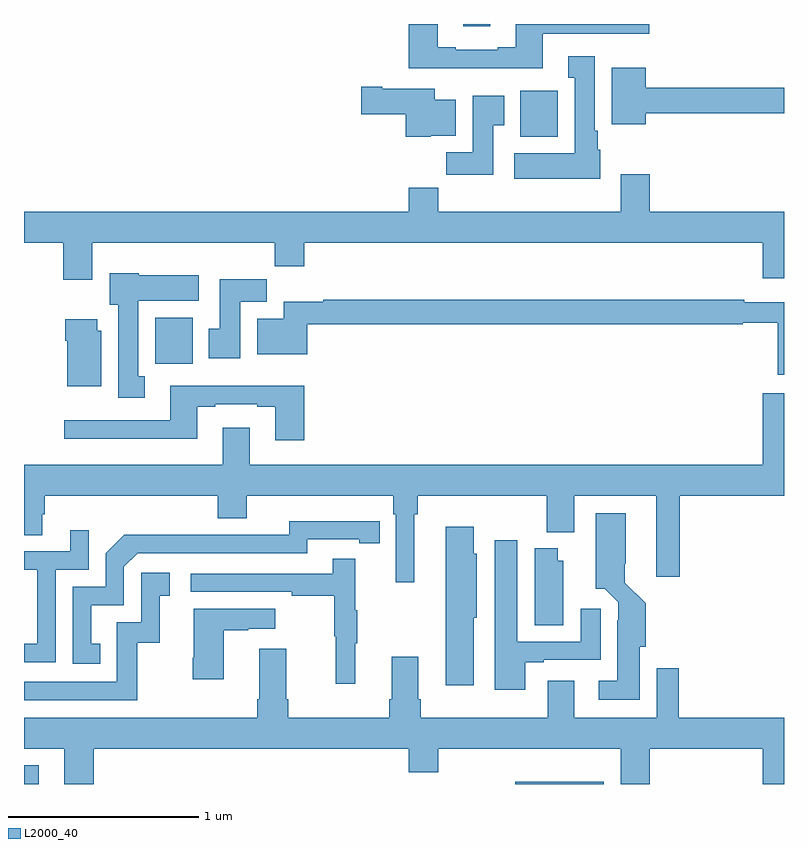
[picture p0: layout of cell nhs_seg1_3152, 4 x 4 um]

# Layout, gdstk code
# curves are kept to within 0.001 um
import gdstk
lib = gdstk.Library(unit=1e-6, precision=1e-09)
def R(c, l, rs):  # rectangles x0, y0, x1, y1
    for r in rs: c.add(gdstk.rectangle(r[:2], r[2:], *l))
def P(c, l, *ps):  # polygons
    for p in ps: c.add(gdstk.Polygon(p, *l))
L2000_40 = (2000, 40)

nhs_seg1_3152 = lib.new_cell('nhs_seg1_3152')
R(nhs_seg1_3152, L2000_40, [(281,566.199,281.077,566.299), (283.586,566.199,284.05,566.212), (281.69,568.412,281.887,568.654), (283.613,569.606,283.81,569.848), (283.313,570.186,283.453,570.199)])
P(nhs_seg1_3152, L2000_40, [(283.729,570.147),(284.29,570.147),(284.29,570.199),(283.589,570.199),(283.589,570.076),(283.493,570.076),(283.493,570.063),(283.273,570.063),(283.273,570.076),(283.177,570.076),(283.177,570.199),(283.025,570.199),(283.025,569.966),(283.729,569.966)],
  [(284.032,569.538),(284.02,569.538),(284.02,569.638),(284.005,569.638),(284.005,570.028),(283.865,570.028),(283.865,569.915),(283.898,569.915),(283.898,569.518),(283.581,569.518),(283.581,569.384),(284.032,569.384)],
  [(284.272,569.728),(285,569.728),(285,569.864),(284.272,569.864),(284.272,569.968),(284.093,569.968),(284.093,569.672),(284.272,569.672)],
  [(283.14,569.612),(283.273,569.612),(283.273,569.8),(283.162,569.8),(283.162,569.857),(282.886,569.857),(282.886,569.87),(282.774,569.87),(282.774,569.723),(283.01,569.723),(283.01,569.606),(283.14,569.606)],
  [(283.471,569.665),(283.528,569.665),(283.528,569.821),(283.361,569.821),(283.361,569.524),(283.222,569.524),(283.222,569.406),(283.471,569.406)],
  [(281,569.048),(281.207,569.048),(281.207,568.854),(281.359,568.854),(281.359,569.048),(282.319,569.048),(282.319,568.924),(282.476,568.924),(282.476,569.048),(284.888,569.048),(284.888,568.86),(285,568.86),(285,569.212),(284.294,569.212),(284.294,569.407),(284.141,569.407),(284.141,569.212),(283.181,569.212),(283.181,569.336),(283.025,569.336),(283.025,569.212),(281,569.212)],
  [(281.635,568.346),(281.602,568.346),(281.602,568.742),(281.92,568.742),(281.92,568.876),(281.604,568.876),(281.604,568.888),(281.45,568.888),(281.45,568.722),(281.495,568.722),(281.495,568.233),(281.635,568.233)],
  [(282.139,568.736),(282.278,568.736),(282.278,568.855),(282.029,568.855),(282.029,568.596),(281.972,568.596),(281.972,568.44),(282.139,568.44)],
  [(285,568.734),(284.792,568.734),(284.792,568.747),(282.574,568.747),(282.574,568.736),(282.368,568.736),(282.368,568.648),(282.227,568.648),(282.227,568.46),(282.491,568.46),(282.491,568.618),(284.782,568.618),(284.782,568.626),(284.966,568.626),(284.966,568.353),(285,568.353)],
  [(281.407,568.584),(281.386,568.584),(281.386,568.645),(281.216,568.645),(281.216,568.532),(281.228,568.532),(281.228,568.292),(281.407,568.292)],
  [(282.476,568.294),(281.771,568.294),(281.771,568.113),(281.211,568.113),(281.211,568.016),(281.911,568.016),(281.911,568.185),(282.007,568.185),(282.007,568.197),(282.227,568.197),(282.227,568.185),(282.323,568.185),(282.323,568.008),(282.476,568.008)],
  [(282.187,568.075),(282.047,568.075),(282.047,567.88),(281,567.88),(281,567.508),(281.095,567.508),(281.095,567.618),(281.108,567.618),(281.108,567.716),(282.02,567.716),(282.02,567.599),(282.172,567.599),(282.172,567.716),(282.944,567.716),(282.944,567.62),(282.957,567.62),(282.957,567.261),(283.054,567.261),(283.054,567.62),(283.073,567.62),(283.073,567.716),(283.75,567.716),(283.75,567.524),(283.897,567.524),(283.897,567.716),(284.327,567.716),(284.327,567.291),(284.45,567.291),(284.45,567.716),(285,567.716),(285,568.255),(284.888,568.255),(284.888,567.88),(282.187,567.88)],
  [(284.242,566.922),(284.273,566.922),(284.273,567.15),(284.163,567.259),(284.163,567.358),(284.167,567.358),(284.167,567.625),(284.009,567.625),(284.009,567.226),(284.057,567.226),(284.127,567.156),(284.127,567.062),(284.123,567.062),(284.123,566.743),(284.025,566.743),(284.025,566.642),(284.242,566.642)],
  [(281.402,566.937),(281.353,566.937),(281.353,567.141),(281.526,567.141),(281.526,567.342),(281.598,567.414),(282.492,567.414),(282.492,567.486),(282.764,567.486),(282.764,567.466),(282.872,567.466),(282.872,567.582),(282.396,567.583),(282.396,567.51),(281.936,567.51),(281.936,567.512),(281.528,567.512),(281.43,567.414),(281.43,567.237),(281.256,567.237),(281.256,566.832),(281.402,566.832)],
  [(283.366,567.075),(283.384,567.075),(283.384,567.411),(283.366,567.411),(283.366,567.553),(283.22,567.553),(283.22,566.718),(283.366,566.718)],
  [(281.166,567.327),(281.34,567.327),(281.34,567.535),(281.243,567.535),(281.243,567.423),(281,567.423),(281,567.327),(281.07,567.327),(281.07,566.938),(281,566.938),(281,566.841),(281.166,566.841)],
  [(283.639,566.841),(283.735,566.841),(283.735,566.853),(284.035,566.853),(284.035,567.121),(283.931,567.121),(283.931,566.949),(283.597,566.949),(283.597,567.481),(283.478,567.481),(283.478,566.694),(283.639,566.694)],
  [(283.837,567.375),(283.81,567.375),(283.81,567.439),(283.688,567.439),(283.688,567.034),(283.837,567.034)],
  [(282.743,566.939),(282.754,566.939),(282.754,567.113),(282.743,567.113),(282.743,567.385),(282.625,567.385),(282.625,567.306),(281.877,567.306),(281.877,567.21),(282.409,567.21),(282.409,567.19),(282.633,567.19),(282.633,566.976),(282.64,566.976),(282.64,566.727),(282.743,566.727)],
  [(281.596,566.943),(281.714,566.943),(281.714,567.189),(281.767,567.189),(281.767,567.31),(281.616,567.31),(281.616,567.051),(281.487,567.051),(281.487,566.736),(281,566.736),(281,566.64),(281.596,566.64)],
  [(282.052,567.007),(282.179,567.007),(282.179,567.017),(282.322,567.017),(282.322,567.121),(281.894,567.121),(281.894,566.863),(281.887,566.863),(281.887,566.751),(282.052,566.751)],
  [(281.366,566.384),(283.025,566.384),(283.025,566.26),(283.181,566.26),(283.181,566.384),(284.141,566.384),(284.141,566.199),(284.294,566.199),(284.294,566.384),(284.888,566.384),(284.888,566.199),(285,566.199),(285,566.548),(284.447,566.548),(284.447,566.809),(284.331,566.809),(284.331,566.548),(283.897,566.548),(283.897,566.743),(283.757,566.743),(283.757,566.548),(283.088,566.548),(283.088,566.644),(283.075,566.644),(283.075,566.869),(282.935,566.869),(282.935,566.644),(282.923,566.644),(282.923,566.548),(282.392,566.548),(282.392,566.644),(282.379,566.644),(282.379,566.911),(282.239,566.911),(282.239,566.644),(282.227,566.644),(282.227,566.548),(281,566.548),(281,566.384),(281.213,566.384),(281.213,566.199),(281.366,566.199)])

lib.write_gds('nhs_seg1_3152.gds')
